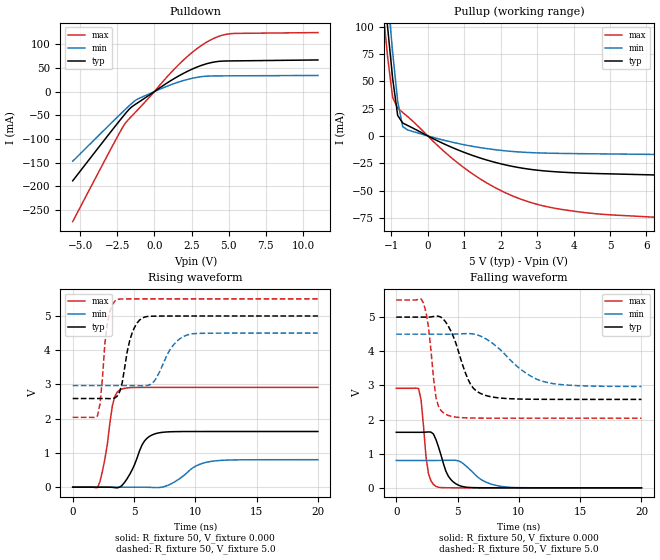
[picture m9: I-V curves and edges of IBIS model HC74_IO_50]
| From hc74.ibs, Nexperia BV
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|   Model HC74_IO_50
[Model]   HC74_IO_50
Model_type   I/O
Polarity   Non-Inverting
Enable   Active-Low
Vinl  =  1.3500V
Vinh  =  3.1500V
Vmeas =  2.5V
Cref  =  5e-11
Rref  =  1e+06
Vref  =  0V
C_comp   1.0351pF   0.6551pF   1.5025pF
[Model Spec]
| Note: The input and output voltage ratings may be exceeded if the input and
|   output current ratings are observed (please refer to the data sheet)
|   Subparameter   typ   min   max
| Timing Thresholds
Vmeas   2.5   2.25   2.75
|Ambient temperature:   25   85   -40
[Temperature Range]   35   95   -30
[Voltage Range]   5.0   4.5   5.5
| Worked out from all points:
|   slope of the pulldown table from 0 to 0.75 V, typ, clamps not added: 46.5 ohm
|   slope of the pullup table from 0 to 0.75 V, typ, clamps not added: 63.9 ohm
|   rising waveform, R_fixture 50, V_fixture 0.000: 20-80 % time 1.2ns typ, 1.85ns min, 726ps max; typ from 0 V to 1.63 V
|   rising waveform, R_fixture 50, V_fixture 5.0: 20-80 % time 815ps typ, 1.36ns min, 536ps max; typ from 2.59 V to 5 V
|   falling waveform, R_fixture 50, V_fixture 0.000: 20-80 % time 935ps typ, 1.68ns min, 472ps max; typ from 1.63 V to 0 V
|   falling waveform, R_fixture 50, V_fixture 5.0: 20-80 % time 1.46ns typ, 2.97ns min, 624ps max; typ from 5 V to 2.59 V
|Process Range   nominal   slow   fast
[Pulldown]
|   voltage   I(typ)   I(min)   I(max)
-5.5V     -188.7mA   -147.2mA   -274.8mA
-2.612V   -72.13mA   -57.51mA   -102.5mA
-1.925V   -45.35mA   -36.62mA   -65.36mA
-1.512V   -31.92mA   -24.62mA   -51.34mA
-962.5mV  -20.33mA   -13.35mA   -33.05mA
1.375V    28.36mA    17.49mA    48.86mA
2.062V    40.31mA    24.33mA    69.87mA
2.75V     50.38mA    29.48mA    88.1mA
3.85V     61.48mA    33.03mA    110.3mA
4.4V      64.06mA    33.2mA     117.5mA
4.95V     64.77mA    33.28mA    121.7mA
11V       66.89mA    34.09mA    124.8mA
[Pullup]
|   voltage   I(typ)   I(min)   I(max)
-5.5V     1.838A     1.973A     1.714A
-1.238V   149.5mA    181.4mA    118.4mA
-1.1V     99.13mA    127.6mA    72.04mA
-962.5mV  52.37mA    76.38mA    35.11mA
-825mV    18.75mA    31.73mA    25.44mA
-687.5mV  11.82mA    8.511mA    21.47mA
412.5mV   -6.787mA   -3.701mA   -13.15mA
1.1V      -16.34mA   -8.75mA    -31.73mA
1.925V    -24.89mA   -12.95mA   -48.71mA
2.75V     -30.32mA   -15.18mA   -60.19mA
4.675V    -34.5mA    -16.42mA   -71.44mA
11V       -39.62mA   -18.63mA   -83.11mA
[Ramp]
| variable   typ   min   max
dV/dt_r  9.7574E-01/1.2035E-09  4.8137E-01/1.8502E-09  1.7489E+00/7.2577E-10
dV/dt_f  9.7574E-01/9.3547E-10  4.8136E-01/1.6807E-09  1.7489E+00/4.7173E-10
R_load = 50
[Rising Waveform]
R_fixture   = 50
V_fixture   = 0.000
V_fixture_min = 0.000
V_fixture_max = 0.000
| time   V(typ)   V(min)   V(max)
0s        9.067pV    1.024nV    59.42pV
2.02ns    12.36uV    -1.376uV   -14.32mV
2.626ns   200uV      -1.743uV   825.5mV
3.232ns   -4.983mV   -2.297uV   2.375V
3.636ns   -19.52mV   2.988uV    2.78V
4.04ns    59.91mV    15.8uV     2.869V
5.859ns   1.352V     -893.4uV   2.914V
6.869ns   1.575V     -12.84mV   2.915V
11.11ns   1.626V     742.4mV    2.915V
20ns      1.626V     802.3mV    2.915V
[Rising Waveform]
R_fixture   = 50
V_fixture   = 5.0
V_fixture_min = 4.5
V_fixture_max = 5.5
| time   V(typ)   V(min)   V(max)
0s        2.59V      2.967V     2.04V
2.02ns    2.59V      2.967V     2.081V
2.222ns   2.59V      2.967V     2.423V
2.828ns   2.588V     2.967V     4.787V
3.636ns   2.663V     2.967V     5.483V
4.04ns    3.057V     2.967V     5.496V
4.849ns   4.506V     2.966V     5.5V
5.859ns   4.968V     2.96V      5.5V
9.293ns   5V         4.44V      5.5V
20ns      5V         4.5V       5.5V
[Falling Waveform]
R_fixture   = 50
V_fixture   = 0.000
V_fixture_min = 0.000
V_fixture_max = 0.000
| time   V(typ)   V(min)   V(max)
0s        1.626V     802.3mV    2.915V
1.818ns   1.626V     802.2mV    2.906V
2.02ns    1.626V     802.2mV    2.586V
2.424ns   1.632V     802.1mV    909mV
2.626ns   1.637V     802.1mV    414.2mV
3.232ns   1.418V     802.5mV    43.42mV
4.242ns   343.8mV    806.6mV    2.972mV
5.455ns   34.36mV    710.7mV    489.2uV
8.687ns   666.5uV    36.28mV    4.254uV
20ns      40.89nV    21.05uV    59.69pV
[Falling Waveform]
R_fixture   = 50
V_fixture   = 5.0
V_fixture_min = 4.5
V_fixture_max = 5.5
| time   V(typ)   V(min)   V(max)
0s        5V         4.5V       5.5V
2.222ns   5V         4.5V       5.409V
2.626ns   5V         4.5V       4.712V
3.232ns   5.028V     4.5V       2.652V
3.434ns   5.026V     4.5V       2.393V
4.04ns    4.851V     4.5V       2.152V
6.061ns   3.03V      4.515V     2.046V
7.071ns   2.733V     4.409V     2.041V
11.92ns   2.592V     3.122V     2.04V
20ns      2.59V      2.968V     2.04V
